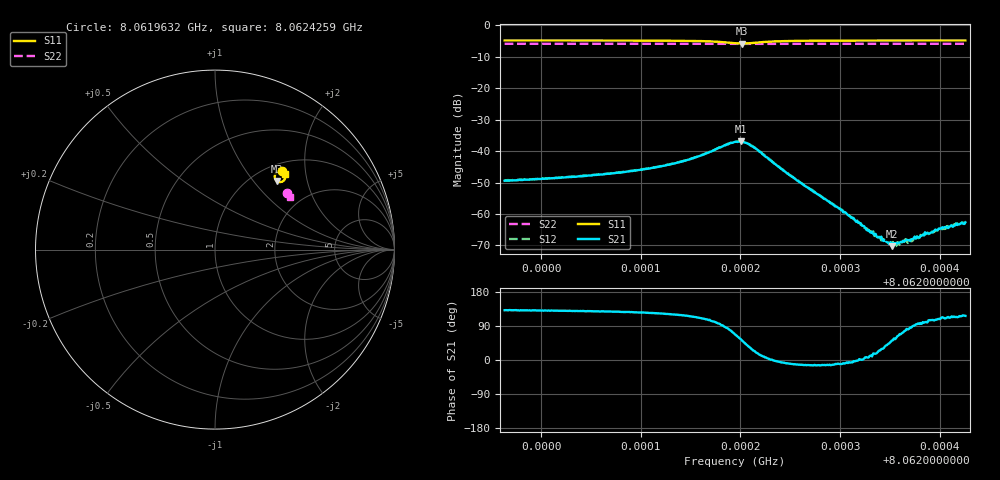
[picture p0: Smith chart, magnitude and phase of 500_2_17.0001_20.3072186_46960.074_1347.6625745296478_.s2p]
#  HZ  S  RI  R  50.00
! Rohde & Schwarz Vector Network Analyzer
! Rohde-Schwarz,ZNB20-2Port,1311601062101988,3.16
! Created: UTC 3/20/2024, 11:14:27 PM
! freq[Hz]  re:S11  im:S11  re:S21  im:S21  re:S12  im:S12  re:S22  im:S22
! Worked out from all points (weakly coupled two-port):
!   401 points, 8.0619632 GHz to 8.0624259 GHz, reference 50 ohm
!   highest |S21| = -36.94 dB at 8.0622003 GHz (marker M1); lowest = -70.3 dB at 8.0623518 GHz (marker M2)
!   lowest |S11| = -5.8 dB at 8.0622015 GHz (marker M3), VSWR 3.12, Z = 63.7 + j66.3 ohm
!   |S11| at or under -10 dB: nowhere
!   |S22| runs from -5.9 to -5.8 dB; largest |S21 - S12| = 0.001
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8.06196323e9  0.3745 0.4377  -0.00223 0.00253  -0.0021 0.00265  0.4025 0.3137
8.06204072e9  0.3807 0.4318  -0.00251 0.0031  -0.00232 0.00325  0.4053 0.3096
8.06207773e9  0.3839 0.4278  -0.00274 0.00361  -0.00254 0.0038  0.4067 0.3076
8.06211821e9  0.3884 0.4212  -0.00305 0.00472  -0.00279 0.00495  0.4082 0.3055
8.06215175e9  0.392 0.4097  -0.00319 0.00697  -0.00276 0.00718  0.4093 0.3033
8.06219454e9  0.3599 0.3762  0.0053 0.013  0.00607 0.0127  0.4088 0.3003
8.06220033e9  0.3458 0.3811  0.0082 0.0116  0.00883 0.0111  0.4085 0.3004
8.06220148e9  0.3434 0.3829  0.00868 0.011  0.0094 0.0105  0.4085 0.3005
8.06221305e9  0.3327 0.4086  0.0106 0.00485  0.0109 0.00435  0.4088 0.3012
8.06224775e9  0.3594 0.4356  0.00429 -0.000694  0.00431 -0.000969  0.4114 0.3004
8.06227203e9  0.3698 0.4349  0.00227 -0.000561  0.0023 -0.000725  0.4128 0.2991
8.06230673e9  0.3777 0.4322  0.000996 -0.000115  0.000976 -0.000205  0.4142 0.2972
8.06232871e9  0.381 0.4304  0.000554 6.51e-05  0.000549 5.41e-05  0.415 0.2958
8.06234953e9  0.3835 0.4289  0.000236 0.00023  0.000281 0.000195  0.4157 0.2948
8.06235184e9  0.3838 0.4286  0.000193 0.000239  0.000228 0.000255  0.4156 0.2947
8.06235762e9  0.3843 0.4281  0.000154 0.0003  0.000197 0.000296  0.4161 0.2943
8.06236456e9  0.385 0.4278  8.64e-05 0.000353  0.000105 0.000355  0.4165 0.2939
8.06237034e9  0.3856 0.4273  2.92e-05 0.000371  7.11e-05 0.000383  0.4166 0.2937
8.06238654e9  0.3872 0.4263  -8.86e-05 0.000477  -5.38e-05 0.000483  0.417 0.2927
8.06240157e9  0.3884 0.4253  -0.000214 0.000549  -0.000156 0.000551  0.4176 0.292
8.06241776e9  0.3897 0.4242  -0.000261 0.000614  -0.000264 0.000643  0.4181 0.2912
8.06242586e9  0.3904 0.4238  -0.000327 0.000658  -0.000294 0.000688  0.4184 0.2907
